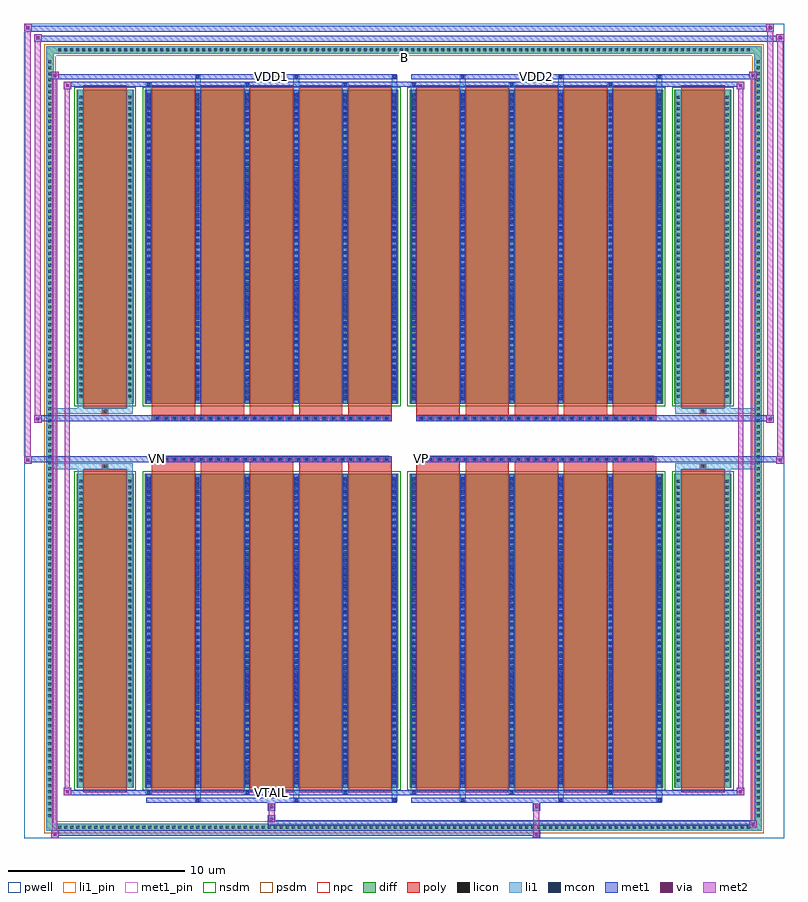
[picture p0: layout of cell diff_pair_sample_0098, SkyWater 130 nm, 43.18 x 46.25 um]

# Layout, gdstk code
import gdstk
lib = gdstk.Library(unit=1e-6, precision=5e-09)
def R(c, l, rs):  # rectangles x0, y0, x1, y1
    for r in rs: c.add(gdstk.rectangle(r[:2], r[2:], *l))
def A(c, l, x, y, w, h, nx, ny, dx, dy):  # array of equal rectangles
    R(c, l, [(x+i*dx, y+j*dy, x+i*dx+w, y+j*dy+h) for i in range(nx) for j in range(ny)])
def P(c, l, *ps):  # polygons
    for p in ps: c.add(gdstk.Polygon(p, *l))
pwell = (64, 44)
diff = (65, 20)
poly = (66, 20)
licon = (66, 44)
li1_pin = (67, 16)
li1 = (67, 20)
mcon = (67, 44)
met1_pin = (68, 16)
met1 = (68, 20)
via = (68, 44)
met2 = (69, 20)
nsdm = (93, 44)
psdm = (94, 20)
npc = (95, 20)

diff_pair_sample_0098 = lib.new_cell('diff_pair_sample_0098')
R(diff_pair_sample_0098, pwell, [(-21.59,-22.69,21.59,23.56), (-18.91,-20.88,-0.01,-0.8), (0.01,-20.88,18.91,-0.8), (-18.91,0.8,-0.01,20.88), (0.01,0.8,18.91,20.88)])
A(diff_pair_sample_0098, diff, -19.755, -22.29, 0.41, 0.41, 116, 2, 0.34, 44.17)
A(diff_pair_sample_0098, diff, -20.32, -21.625, 0.41, 0.41, 1, 127, 0, 0.34)
A(diff_pair_sample_0098, diff, 19.91, -21.625, 0.41, 0.41, 1, 127, 0, 0.34)
R(diff_pair_sample_0098, diff, [(-19.755,-22.29,19.755,-21.88), (-20.32,-21.625,-19.91,21.625), (19.91,-21.625,20.32,21.625), (-18.6,-19.835,-15.36,-1.985), (-14.72,-19.835,-0.32,-1.985), (0.32,-19.835,14.72,-1.985), (15.36,-19.835,18.6,-1.985), (-18.6,1.985,-15.36,19.835), (-14.72,1.985,-0.32,19.835), (0.32,1.985,14.72,19.835), (15.36,1.985,18.6,19.835), (-19.755,21.88,19.755,22.29)])
P(diff_pair_sample_0098, diff, [(20.32,22.29),(-20.32,22.29),(-20.32,-21.88),(-19.91,-21.88),(-19.91,21.88),(19.91,21.88),(19.91,-21.88),(-19.91,-21.88),(-20.32,-21.88),(-20.32,-22.29),(20.32,-22.29)])
A(diff_pair_sample_0098, poly, -14.33, -20.085, 2.46, 18.35, 5, 2, 2.79, 21.82)
A(diff_pair_sample_0098, poly, 0.71, -20.085, 2.46, 18.35, 5, 2, 2.79, 21.82)
A(diff_pair_sample_0098, poly, -14.33, -1.735, 2.46, 0.405, 5, 2, 2.79, 3.065)
A(diff_pair_sample_0098, poly, 0.71, -1.735, 2.46, 0.405, 5, 2, 2.79, 3.065)
A(diff_pair_sample_0098, poly, -14.185, -1.33, 0.33, 0.33, 27, 2, 0.5, 2.33)
A(diff_pair_sample_0098, poly, 0.855, -1.33, 0.33, 0.33, 27, 2, 0.5, 2.33)
R(diff_pair_sample_0098, poly, [(-18.21,-20.085,-15.75,-1.735), (15.75,-20.085,18.21,-1.735), (-17.145,-1.735,-16.815,-1.405), (-17.145,-1.735,-16.815,-1.405), (16.815,-1.735,17.145,-1.405), (16.815,-1.735,17.145,-1.405), (-14.33,-1.33,-0.71,-1), (0.71,-1.33,14.33,-1), (-14.33,1,-0.71,1.33), (0.71,1,14.33,1.33), (-17.145,1.405,-16.815,1.735), (-17.145,1.405,-16.815,1.735), (16.815,1.405,17.145,1.735), (16.815,1.405,17.145,1.735), (-18.21,1.735,-15.75,20.085), (15.75,1.735,18.21,20.085)])
A(diff_pair_sample_0098, licon, -19.635, -22.17, 0.17, 0.17, 116, 2, 0.34, 44.17)
A(diff_pair_sample_0098, licon, -20.2, -21.505, 0.17, 0.17, 1, 127, 0, 0.34)
A(diff_pair_sample_0098, licon, 20.03, -21.505, 0.17, 0.17, 1, 127, 0, 0.34)
A(diff_pair_sample_0098, licon, -18.46, -19.495, 0.17, 0.17, 1, 51, 0, 0.34)
A(diff_pair_sample_0098, licon, -15.67, -19.495, 0.17, 0.17, 1, 51, 0, 0.34)
A(diff_pair_sample_0098, licon, -14.58, -19.495, 0.17, 0.17, 6, 51, 2.79, 0.34)
A(diff_pair_sample_0098, licon, 0.46, -19.495, 0.17, 0.17, 6, 51, 2.79, 0.34)
A(diff_pair_sample_0098, licon, 15.5, -19.495, 0.17, 0.17, 1, 51, 0, 0.34)
A(diff_pair_sample_0098, licon, 18.29, -19.495, 0.17, 0.17, 1, 51, 0, 0.34)
A(diff_pair_sample_0098, licon, -14.105, -1.25, 0.17, 0.17, 27, 2, 0.5, 2.33)
A(diff_pair_sample_0098, licon, 0.935, -1.25, 0.17, 0.17, 27, 2, 0.5, 2.33)
A(diff_pair_sample_0098, licon, -18.46, 2.325, 0.17, 0.17, 1, 51, 0, 0.34)
A(diff_pair_sample_0098, licon, -15.67, 2.325, 0.17, 0.17, 1, 51, 0, 0.34)
A(diff_pair_sample_0098, licon, -14.58, 2.325, 0.17, 0.17, 6, 51, 2.79, 0.34)
A(diff_pair_sample_0098, licon, 0.46, 2.325, 0.17, 0.17, 6, 51, 2.79, 0.34)
A(diff_pair_sample_0098, licon, 15.5, 2.325, 0.17, 0.17, 1, 51, 0, 0.34)
A(diff_pair_sample_0098, licon, 18.29, 2.325, 0.17, 0.17, 1, 51, 0, 0.34)
R(diff_pair_sample_0098, licon, [(-17.065,-1.655,-16.895,-1.485), (16.895,-1.655,17.065,-1.485), (-17.065,1.485,-16.895,1.655), (16.895,1.485,17.065,1.655)])
R(diff_pair_sample_0098, li1_pin, [(-0.25,21.38,0.25,21.88)])
A(diff_pair_sample_0098, li1, -19.715, -22.25, 0.33, 0.33, 116, 2, 0.34, 44.17)
A(diff_pair_sample_0098, li1, -20.28, -21.585, 0.33, 0.33, 1, 127, 0, 0.34)
A(diff_pair_sample_0098, li1, 19.95, -21.585, 0.33, 0.33, 1, 127, 0, 0.34)
A(diff_pair_sample_0098, li1, -11.87, -20.64, 0.33, 0.805, 3, 2, 5.58, 40.475)
A(diff_pair_sample_0098, li1, -11.79, -20.64, 0.17, 0.17, 3, 2, 5.58, 41.11)
A(diff_pair_sample_0098, li1, 3.17, -20.64, 0.33, 0.805, 3, 2, 5.58, 40.475)
A(diff_pair_sample_0098, li1, 3.25, -20.64, 0.17, 0.17, 3, 2, 5.58, 41.11)
A(diff_pair_sample_0098, li1, -14.66, -20.21, 0.33, 0.375, 3, 2, 5.58, 40.045)
A(diff_pair_sample_0098, li1, -14.58, -20.21, 0.17, 0.17, 3, 2, 5.58, 40.25)
A(diff_pair_sample_0098, li1, 0.38, -20.21, 0.33, 0.375, 3, 2, 5.58, 40.045)
A(diff_pair_sample_0098, li1, 0.46, -20.21, 0.17, 0.17, 3, 2, 5.58, 40.25)
A(diff_pair_sample_0098, li1, -14.66, -19.835, 0.33, 17.85, 6, 2, 2.79, 21.82)
A(diff_pair_sample_0098, li1, 0.38, -19.835, 0.33, 17.85, 6, 2, 2.79, 21.82)
A(diff_pair_sample_0098, li1, -14.58, -19.635, 0.17, 0.17, 6, 49, 2.79, 0.36)
A(diff_pair_sample_0098, li1, -14.58, -19.635, 0.17, 17.45, 6, 2, 2.79, 21.82)
A(diff_pair_sample_0098, li1, 0.46, -19.635, 0.17, 0.17, 6, 49, 2.79, 0.36)
A(diff_pair_sample_0098, li1, 0.46, -19.635, 0.17, 17.45, 6, 2, 2.79, 21.82)
A(diff_pair_sample_0098, li1, -18.54, -19.575, 0.33, 0.33, 1, 51, 0, 0.34)
A(diff_pair_sample_0098, li1, -15.75, -19.575, 0.33, 0.33, 1, 51, 0, 0.34)
A(diff_pair_sample_0098, li1, -14.66, -19.575, 0.33, 0.33, 6, 51, 2.79, 0.34)
A(diff_pair_sample_0098, li1, 0.38, -19.575, 0.33, 0.33, 6, 51, 2.79, 0.34)
A(diff_pair_sample_0098, li1, 15.42, -19.575, 0.33, 0.33, 1, 51, 0, 0.34)
A(diff_pair_sample_0098, li1, 18.21, -19.575, 0.33, 0.33, 1, 51, 0, 0.34)
A(diff_pair_sample_0098, li1, -14.185, -1.33, 0.33, 0.33, 27, 2, 0.5, 2.33)
A(diff_pair_sample_0098, li1, 0.855, -1.33, 0.33, 0.33, 27, 2, 0.5, 2.33)
A(diff_pair_sample_0098, li1, -14.58, 2.185, 0.17, 0.17, 6, 49, 2.79, 0.36)
A(diff_pair_sample_0098, li1, 0.46, 2.185, 0.17, 0.17, 6, 49, 2.79, 0.36)
A(diff_pair_sample_0098, li1, -18.54, 2.245, 0.33, 0.33, 1, 51, 0, 0.34)
A(diff_pair_sample_0098, li1, -15.75, 2.245, 0.33, 0.33, 1, 51, 0, 0.34)
A(diff_pair_sample_0098, li1, -14.66, 2.245, 0.33, 0.33, 6, 51, 2.79, 0.34)
A(diff_pair_sample_0098, li1, 0.38, 2.245, 0.33, 0.33, 6, 51, 2.79, 0.34)
A(diff_pair_sample_0098, li1, 15.42, 2.245, 0.33, 0.33, 1, 51, 0, 0.34)
A(diff_pair_sample_0098, li1, 18.21, 2.245, 0.33, 0.33, 1, 51, 0, 0.34)
R(diff_pair_sample_0098, li1, [(-20.32,-22.29,-19.91,-21.88), (-20.32,-22.29,-19.91,-21.88), (-19.91,-22.29,19.91,-21.88), (19.91,-22.29,20.32,-21.88), (19.91,-22.29,20.32,-21.88), (-20.32,-21.88,-19.91,21.88), (19.91,-21.88,20.32,21.88), (-18.54,-19.835,-18.21,-1.985), (-15.75,-19.835,-15.42,-1.985), (15.42,-19.835,15.75,-1.985), (18.21,-19.835,18.54,-1.985), (-18.54,-1.985,-18.21,-1.405), (-15.75,-1.985,-15.42,-1.405), (15.42,-1.985,15.75,-1.405), (18.21,-1.985,18.54,-1.405), (-20.32,-1.735,-17.145,-1.405), (-18.54,-1.735,-17.145,-1.405), (-17.145,-1.735,-16.815,-1.405), (-16.815,-1.735,-15.42,-1.405), (15.42,-1.735,16.815,-1.405), (16.815,-1.735,17.145,-1.405), (16.815,-1.735,20.32,-1.405), (17.145,-1.735,18.54,-1.405), (-20.32,1.405,-17.145,1.735), (-18.54,1.405,-17.145,1.735), (-18.54,1.405,-18.21,1.985), (-17.145,1.405,-16.815,1.735), (-16.815,1.405,-15.42,1.735), (-15.75,1.405,-15.42,1.985), (15.42,1.405,16.815,1.735), (15.42,1.405,15.75,1.985), (16.815,1.405,17.145,1.735), (16.815,1.405,20.32,1.735), (17.145,1.405,18.54,1.735), (18.21,1.405,18.54,1.985), (-18.54,1.985,-18.21,19.835), (-15.75,1.985,-15.42,19.835), (15.42,1.985,15.75,19.835), (18.21,1.985,18.54,19.835), (-20.32,21.88,-19.91,22.29), (-20.32,21.88,-19.91,22.29), (-19.91,21.88,19.91,22.29), (19.91,21.88,20.32,22.29), (19.91,21.88,20.32,22.29)])
A(diff_pair_sample_0098, mcon, -11.79, -20.64, 0.17, 0.17, 3, 2, 5.58, 41.11)
A(diff_pair_sample_0098, mcon, 3.25, -20.64, 0.17, 0.17, 3, 2, 5.58, 41.11)
A(diff_pair_sample_0098, mcon, -14.58, -20.21, 0.17, 0.17, 3, 2, 5.58, 40.25)
A(diff_pair_sample_0098, mcon, 0.46, -20.21, 0.17, 0.17, 3, 2, 5.58, 40.25)
A(diff_pair_sample_0098, mcon, -14.58, -19.635, 0.17, 0.17, 6, 49, 2.79, 0.36)
A(diff_pair_sample_0098, mcon, 0.46, -19.635, 0.17, 0.17, 6, 49, 2.79, 0.36)
A(diff_pair_sample_0098, mcon, -14.105, -1.25, 0.17, 0.17, 27, 2, 0.5, 2.33)
A(diff_pair_sample_0098, mcon, 0.935, -1.25, 0.17, 0.17, 27, 2, 0.5, 2.33)
A(diff_pair_sample_0098, mcon, -14.58, 2.185, 0.17, 0.17, 6, 49, 2.79, 0.36)
A(diff_pair_sample_0098, mcon, 0.46, 2.185, 0.17, 0.17, 6, 49, 2.79, 0.36)
R(diff_pair_sample_0098, met1_pin, [(-7.655,-20.25,-7.385,-19.98), (-14.155,-1.29,-13.885,-1.02), (0.885,-1.29,1.155,-1.02), (-7.655,20.43,-7.385,20.7), (7.385,20.43,7.655,20.7)])
A(diff_pair_sample_0098, met1, -11.85, -20.7, 0.29, 0.29, 3, 2, 5.58, 41.11)
A(diff_pair_sample_0098, met1, 3.19, -20.7, 0.29, 0.29, 3, 2, 5.58, 41.11)
A(diff_pair_sample_0098, met1, -14.64, -20.27, 0.29, 0.29, 3, 2, 5.58, 40.25)
A(diff_pair_sample_0098, met1, 0.4, -20.27, 0.29, 0.29, 3, 2, 5.58, 40.25)
A(diff_pair_sample_0098, met1, -14.64, -19.835, 0.29, 17.85, 6, 2, 2.79, 21.82)
A(diff_pair_sample_0098, met1, 0.4, -19.835, 0.29, 17.85, 6, 2, 2.79, 21.82)
A(diff_pair_sample_0098, met1, -14.64, -19.695, 0.29, 0.29, 6, 49, 2.79, 0.36)
A(diff_pair_sample_0098, met1, 0.4, -19.695, 0.29, 0.29, 6, 49, 2.79, 0.36)
A(diff_pair_sample_0098, met1, -14.165, -1.31, 0.29, 0.29, 27, 2, 0.5, 2.33)
A(diff_pair_sample_0098, met1, 0.875, -1.31, 0.29, 0.29, 27, 2, 0.5, 2.33)
A(diff_pair_sample_0098, met1, -14.64, 2.125, 0.29, 0.29, 6, 49, 2.79, 0.36)
A(diff_pair_sample_0098, met1, 0.4, 2.125, 0.29, 0.29, 6, 49, 2.79, 0.36)
R(diff_pair_sample_0098, met1, [(-20.05,-22.69,-19.62,-22.26), (7.305,-22.69,7.735,-22.26), (-20.05,-22.55,7.735,-22.26), (19.62,-22.12,20.05,-21.69), (-7.735,-21.98,20.05,-21.69), (-7.735,-21.84,-7.305,-21.41), (-7.735,-21.13,-7.305,-20.7), (7.305,-21.13,7.735,-20.7), (-14.64,-20.7,-0.4,-20.41), (0.4,-20.7,14.64,-20.41), (-19.34,-20.27,-18.91,-19.84), (-19.34,-20.27,-14.64,-19.98), (-14.64,-20.27,-0.4,-19.98), (-0.4,-20.27,0.4,-19.98), (0.4,-20.27,14.64,-19.98), (14.64,-20.27,19.34,-19.98), (18.91,-20.27,19.34,-19.84), (-21.59,-1.43,-21.16,-1), (21.16,-1.43,21.59,-1), (-21.59,-1.33,-0.71,-1), (-14.33,-1.33,-0.71,-1), (0.71,-1.33,14.33,-1), (0.71,-1.33,21.59,-1), (-21.02,0.9,-20.59,1.33), (20.59,0.9,21.02,1.33), (-21.02,1,-14.33,1.33), (-14.33,1,-0.71,1.33), (0.71,1,14.33,1.33), (14.33,1,21.02,1.33), (-19.34,19.84,-18.91,20.27), (18.91,19.84,19.34,20.27), (-19.34,19.98,-14.64,20.27), (-14.64,19.98,-0.4,20.27), (-0.4,19.98,0.4,20.27), (0.4,19.98,14.64,20.27), (14.64,19.98,19.34,20.27), (-20.05,20.41,-19.62,20.84), (-20.05,20.41,-14.64,20.7), (-14.64,20.41,-0.4,20.7), (0.4,20.41,14.64,20.7), (14.64,20.41,20.05,20.7), (19.62,20.41,20.05,20.84), (-21.02,22.56,-20.59,22.99), (-21.02,22.56,-18.91,22.89), (-18.91,22.56,18.91,22.89), (18.91,22.56,21.59,22.89), (21.16,22.56,21.59,22.99), (-21.59,23.13,-21.16,23.56), (-21.59,23.13,-18.91,23.46), (-18.91,23.13,18.91,23.46), (18.91,23.13,21.02,23.46), (20.59,23.13,21.02,23.56)])
R(diff_pair_sample_0098, via, [(-19.91,-22.55,-19.76,-22.4), (7.445,-22.55,7.595,-22.4), (19.76,-21.98,19.91,-21.83), (-7.595,-21.7,-7.445,-21.55), (-7.595,-20.99,-7.445,-20.84), (7.445,-20.99,7.595,-20.84), (-19.2,-20.13,-19.05,-19.98), (19.05,-20.13,19.2,-19.98), (-21.45,-1.29,-21.3,-1.14), (21.3,-1.29,21.45,-1.14), (-20.88,1.04,-20.73,1.19), (20.73,1.04,20.88,1.19), (-19.2,19.98,-19.05,20.13), (19.05,19.98,19.2,20.13), (-19.91,20.55,-19.76,20.7), (19.76,20.55,19.91,20.7), (-20.88,22.7,-20.73,22.85), (21.3,22.7,21.45,22.85), (-21.45,23.27,-21.3,23.42), (20.73,23.27,20.88,23.42)])
R(diff_pair_sample_0098, met2, [(-20.05,-22.69,-19.62,-22.26), (-19.98,-22.69,-19.69,20.84), (-19.69,-22.69,-19.62,-22.26), (-20,-22.64,-19.67,-22.31), (7.355,-22.64,7.685,-22.31), (7.355,-22.31,7.685,-21.08), (19.62,-22.12,20.05,-21.69), (19.69,-22.12,19.98,20.84), (19.98,-22.12,20.05,-21.69), (19.67,-22.07,20,-21.74), (-7.685,-21.79,-7.355,-21.46), (-7.685,-21.46,-7.355,-21.08), (-7.685,-21.08,-7.355,-20.75), (7.355,-21.08,7.685,-20.75), (-19.34,-20.27,-18.91,-19.84), (-19.27,-20.27,-18.98,20.27), (-18.98,-20.27,-18.91,-19.84), (18.91,-20.27,19.34,-19.84), (18.98,-20.27,19.27,20.27), (19.27,-20.27,19.34,-19.84), (-19.29,-20.22,-18.96,-19.89), (18.96,-20.22,19.29,-19.89), (-21.59,-1.43,-21.16,-1), (-21.54,-1.43,-21.21,23.56), (-21.21,-1.43,-21.16,-1), (21.16,-1.43,21.59,-1), (21.21,-1.43,21.54,22.99), (21.54,-1.43,21.59,-1), (-21.54,-1.38,-21.21,-1.05), (21.21,-1.38,21.54,-1.05), (-21.02,0.9,-20.59,1.33), (-20.97,0.9,-20.64,22.99), (-20.64,0.9,-20.59,1.33), (20.59,0.9,21.02,1.33), (20.64,0.9,20.97,23.56), (20.97,0.9,21.02,1.33), (-20.97,0.95,-20.64,1.28), (20.64,0.95,20.97,1.28), (-19.34,19.84,-18.91,20.27), (-18.98,19.84,-18.91,20.27), (18.91,19.84,19.34,20.27), (19.27,19.84,19.34,20.27), (-19.29,19.89,-18.96,20.22), (18.96,19.89,19.29,20.22), (-20.05,20.41,-19.62,20.84), (-19.69,20.41,-19.62,20.84), (19.62,20.41,20.05,20.84), (19.98,20.41,20.05,20.84), (-20,20.46,-19.67,20.79), (19.67,20.46,20,20.79), (-21.02,22.56,-20.59,22.99), (-20.64,22.56,-20.59,22.99), (21.16,22.56,21.59,22.99), (21.54,22.56,21.59,22.99), (-20.97,22.61,-20.64,22.94), (21.21,22.61,21.54,22.94), (-21.59,23.13,-21.16,23.56), (-21.21,23.13,-21.16,23.56), (20.59,23.13,21.02,23.56), (20.97,23.13,21.02,23.56), (-21.54,23.18,-21.21,23.51), (20.64,23.18,20.97,23.51)])
R(diff_pair_sample_0098, nsdm, [(-18.73,-19.965,-15.23,-1.855), (-14.85,-19.965,-0.19,-1.855), (0.19,-19.965,14.85,-1.855), (15.23,-19.965,18.73,-1.855), (-18.73,1.855,-15.23,19.965), (-14.85,1.855,-0.19,19.965), (0.19,1.855,14.85,19.965), (15.23,1.855,18.73,19.965)])
P(diff_pair_sample_0098, psdm, [(20.45,22.42),(-20.45,22.42),(-20.45,-21.75),(-19.78,-21.75),(-19.78,21.75),(19.78,21.75),(19.78,-21.75),(-19.78,-21.75),(-20.45,-21.75),(-20.45,-22.42),(20.45,-22.42)])
A(diff_pair_sample_0098, npc, -14.205, -1.35, 0.37, 0.37, 27, 2, 0.5, 2.33)
A(diff_pair_sample_0098, npc, 0.835, -1.35, 0.37, 0.37, 27, 2, 0.5, 2.33)
R(diff_pair_sample_0098, npc, [(-17.165,-1.755,-16.795,-1.385), (16.795,-1.755,17.165,-1.385), (-14.205,-1.35,-13.335,-0.98), (-14.205,-1.35,-13.335,-0.98), (-13.705,-1.35,-12.835,-0.98), (-13.705,-1.35,-12.835,-0.98), (-13.205,-1.35,-12.335,-0.98), (-13.205,-1.35,-12.335,-0.98), (-12.705,-1.35,-11.835,-0.98), (-12.705,-1.35,-11.835,-0.98), (-12.205,-1.35,-11.335,-0.98), (-12.205,-1.35,-11.335,-0.98), (-11.705,-1.35,-10.835,-0.98), (-11.705,-1.35,-10.835,-0.98), (-11.205,-1.35,-10.335,-0.98), (-11.205,-1.35,-10.335,-0.98), (-10.705,-1.35,-9.835,-0.98), (-10.705,-1.35,-9.835,-0.98), (-10.205,-1.35,-9.335,-0.98), (-10.205,-1.35,-9.335,-0.98), (-9.705,-1.35,-8.835,-0.98), (-9.705,-1.35,-8.835,-0.98), (-9.205,-1.35,-8.335,-0.98), (-9.205,-1.35,-8.335,-0.98), (-8.705,-1.35,-7.835,-0.98), (-8.705,-1.35,-7.835,-0.98), (-8.205,-1.35,-7.335,-0.98), (-8.205,-1.35,-7.335,-0.98), (-7.705,-1.35,-6.835,-0.98), (-7.705,-1.35,-6.835,-0.98), (-7.205,-1.35,-6.335,-0.98), (-7.205,-1.35,-6.335,-0.98), (-6.705,-1.35,-5.835,-0.98), (-6.705,-1.35,-5.835,-0.98), (-6.205,-1.35,-5.335,-0.98), (-6.205,-1.35,-5.335,-0.98), (-5.705,-1.35,-4.835,-0.98), (-5.705,-1.35,-4.835,-0.98), (-5.205,-1.35,-4.335,-0.98), (-5.205,-1.35,-4.335,-0.98), (-4.705,-1.35,-3.835,-0.98), (-4.705,-1.35,-3.835,-0.98), (-4.205,-1.35,-3.335,-0.98), (-4.205,-1.35,-3.335,-0.98), (-3.705,-1.35,-2.835,-0.98), (-3.705,-1.35,-2.835,-0.98), (-3.205,-1.35,-2.335,-0.98), (-3.205,-1.35,-2.335,-0.98), (-2.705,-1.35,-1.835,-0.98), (-2.705,-1.35,-1.835,-0.98), (-2.205,-1.35,-1.335,-0.98), (-2.205,-1.35,-1.335,-0.98), (-1.705,-1.35,-0.835,-0.98), (-1.705,-1.35,-0.835,-0.98), (0.835,-1.35,1.705,-0.98), (0.835,-1.35,1.705,-0.98), (1.335,-1.35,2.205,-0.98), (1.335,-1.35,2.205,-0.98), (1.835,-1.35,2.705,-0.98), (1.835,-1.35,2.705,-0.98), (2.335,-1.35,3.205,-0.98), (2.335,-1.35,3.205,-0.98), (2.835,-1.35,3.705,-0.98), (2.835,-1.35,3.705,-0.98), (3.335,-1.35,4.205,-0.98), (3.335,-1.35,4.205,-0.98), (3.835,-1.35,4.705,-0.98), (3.835,-1.35,4.705,-0.98), (4.335,-1.35,5.205,-0.98), (4.335,-1.35,5.205,-0.98), (4.835,-1.35,5.705,-0.98), (4.835,-1.35,5.705,-0.98), (5.335,-1.35,6.205,-0.98), (5.335,-1.35,6.205,-0.98), (5.835,-1.35,6.705,-0.98), (5.835,-1.35,6.705,-0.98), (6.335,-1.35,7.205,-0.98), (6.335,-1.35,7.205,-0.98), (6.835,-1.35,7.705,-0.98), (6.835,-1.35,7.705,-0.98), (7.335,-1.35,8.205,-0.98), (7.335,-1.35,8.205,-0.98), (7.835,-1.35,8.705,-0.98), (7.835,-1.35,8.705,-0.98), (8.335,-1.35,9.205,-0.98), (8.335,-1.35,9.205,-0.98), (8.835,-1.35,9.705,-0.98), (8.835,-1.35,9.705,-0.98), (9.335,-1.35,10.205,-0.98), (9.335,-1.35,10.205,-0.98), (9.835,-1.35,10.705,-0.98), (9.835,-1.35,10.705,-0.98), (10.335,-1.35,11.205,-0.98), (10.335,-1.35,11.205,-0.98), (10.835,-1.35,11.705,-0.98), (10.835,-1.35,11.705,-0.98), (11.335,-1.35,12.205,-0.98), (11.335,-1.35,12.205,-0.98), (11.835,-1.35,12.705,-0.98), (11.835,-1.35,12.705,-0.98), (12.335,-1.35,13.205,-0.98), (12.335,-1.35,13.205,-0.98), (12.835,-1.35,13.705,-0.98), (12.835,-1.35,13.705,-0.98), (13.335,-1.35,14.205,-0.98), (13.335,-1.35,14.205,-0.98), (-14.205,0.98,-13.335,1.35), (-14.205,0.98,-13.335,1.35), (-13.705,0.98,-12.835,1.35), (-13.705,0.98,-12.835,1.35), (-13.205,0.98,-12.335,1.35), (-13.205,0.98,-12.335,1.35), (-12.705,0.98,-11.835,1.35), (-12.705,0.98,-11.835,1.35), (-12.205,0.98,-11.335,1.35), (-12.205,0.98,-11.335,1.35), (-11.705,0.98,-10.835,1.35), (-11.705,0.98,-10.835,1.35), (-11.205,0.98,-10.335,1.35), (-11.205,0.98,-10.335,1.35), (-10.705,0.98,-9.835,1.35), (-10.705,0.98,-9.835,1.35), (-10.205,0.98,-9.335,1.35), (-10.205,0.98,-9.335,1.35), (-9.705,0.98,-8.835,1.35), (-9.705,0.98,-8.835,1.35), (-9.205,0.98,-8.335,1.35), (-9.205,0.98,-8.335,1.35), (-8.705,0.98,-7.835,1.35), (-8.705,0.98,-7.835,1.35), (-8.205,0.98,-7.335,1.35), (-8.205,0.98,-7.335,1.35), (-7.705,0.98,-6.835,1.35), (-7.705,0.98,-6.835,1.35), (-7.205,0.98,-6.335,1.35), (-7.205,0.98,-6.335,1.35), (-6.705,0.98,-5.835,1.35), (-6.705,0.98,-5.835,1.35), (-6.205,0.98,-5.335,1.35), (-6.205,0.98,-5.335,1.35), (-5.705,0.98,-4.835,1.35), (-5.705,0.98,-4.835,1.35), (-5.205,0.98,-4.335,1.35), (-5.205,0.98,-4.335,1.35), (-4.705,0.98,-3.835,1.35), (-4.705,0.98,-3.835,1.35), (-4.205,0.98,-3.335,1.35), (-4.205,0.98,-3.335,1.35), (-3.705,0.98,-2.835,1.35), (-3.705,0.98,-2.835,1.35), (-3.205,0.98,-2.335,1.35), (-3.205,0.98,-2.335,1.35), (-2.705,0.98,-1.835,1.35), (-2.705,0.98,-1.835,1.35), (-2.205,0.98,-1.335,1.35), (-2.205,0.98,-1.335,1.35), (-1.705,0.98,-0.835,1.35), (-1.705,0.98,-0.835,1.35), (0.835,0.98,1.705,1.35), (0.835,0.98,1.705,1.35), (1.335,0.98,2.205,1.35), (1.335,0.98,2.205,1.35), (1.835,0.98,2.705,1.35), (1.835,0.98,2.705,1.35), (2.335,0.98,3.205,1.35), (2.335,0.98,3.205,1.35), (2.835,0.98,3.705,1.35), (2.835,0.98,3.705,1.35), (3.335,0.98,4.205,1.35), (3.335,0.98,4.205,1.35), (3.835,0.98,4.705,1.35), (3.835,0.98,4.705,1.35), (4.335,0.98,5.205,1.35), (4.335,0.98,5.205,1.35), (4.835,0.98,5.705,1.35), (4.835,0.98,5.705,1.35), (5.335,0.98,6.205,1.35), (5.335,0.98,6.205,1.35), (5.835,0.98,6.705,1.35), (5.835,0.98,6.705,1.35), (6.335,0.98,7.205,1.35), (6.335,0.98,7.205,1.35), (6.835,0.98,7.705,1.35), (6.835,0.98,7.705,1.35), (7.335,0.98,8.205,1.35), (7.335,0.98,8.205,1.35), (7.835,0.98,8.705,1.35), (7.835,0.98,8.705,1.35), (8.335,0.98,9.205,1.35), (8.335,0.98,9.205,1.35), (8.835,0.98,9.705,1.35), (8.835,0.98,9.705,1.35), (9.335,0.98,10.205,1.35), (9.335,0.98,10.205,1.35), (9.835,0.98,10.705,1.35), (9.835,0.98,10.705,1.35), (10.335,0.98,11.205,1.35), (10.335,0.98,11.205,1.35), (10.835,0.98,11.705,1.35), (10.835,0.98,11.705,1.35), (11.335,0.98,12.205,1.35), (11.335,0.98,12.205,1.35), (11.835,0.98,12.705,1.35), (11.835,0.98,12.705,1.35), (12.335,0.98,13.205,1.35), (12.335,0.98,13.205,1.35), (12.835,0.98,13.705,1.35), (12.835,0.98,13.705,1.35), (13.335,0.98,14.205,1.35), (13.335,0.98,14.205,1.35), (-17.165,1.385,-16.795,1.755), (16.795,1.385,17.165,1.755)])
diff_pair_sample_0098.add(gdstk.Label('VTAIL', (-7.52,-20.115), layer=68, texttype=5))
diff_pair_sample_0098.add(gdstk.Label('VN', (-14.02,-1.155), layer=68, texttype=5))
diff_pair_sample_0098.add(gdstk.Label('VP', (1.02,-1.155), layer=68, texttype=5))
diff_pair_sample_0098.add(gdstk.Label('B', (0,21.63), layer=67, texttype=5))
diff_pair_sample_0098.add(gdstk.Label('VDD2', (7.52,20.565), layer=68, texttype=5))
diff_pair_sample_0098.add(gdstk.Label('VDD1', (-7.52,20.565), layer=68, texttype=5))

lib.write_gds('diff_pair_sample_0098.gds')
